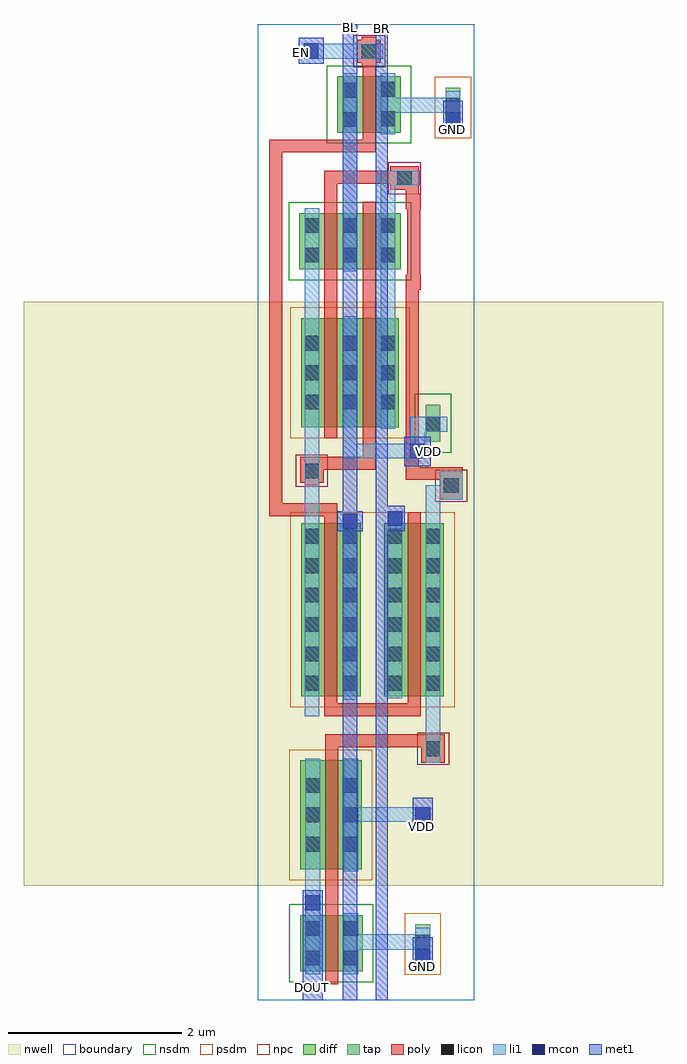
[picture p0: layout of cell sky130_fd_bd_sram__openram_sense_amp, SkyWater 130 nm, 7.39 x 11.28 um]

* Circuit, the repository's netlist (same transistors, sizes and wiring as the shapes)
* Copyright 2020 The SkyWater PDK Authors
*
* Licensed under the Apache License, Version 2.0 (the "License");
* you may not use this file except in compliance with the License.
* You may obtain a copy of the License at
*
*     https://www.apache.org/licenses/LICENSE-2.0
*
* Unless required by applicable law or agreed to in writing, software
* distributed under the License is distributed on an "AS IS" BASIS,
* WITHOUT WARRANTIES OR CONDITIONS OF ANY KIND, either express or implied.
* See the License for the specific language governing permissions and
* limitations under the License.
*
* SPDX-License-Identifier: Apache-2.0


.subckt sky130_fd_bd_sram__openram_sense_amp BL BR DOUT EN GND VDD
X0 GND a_154_1298# DOUT GND sky130_fd_pr__nfet_01v8 w=650000u l=150000u
X1 a_154_1298# a_96_1689# VDD VDD sky130_fd_pr__pfet_01v8 w=1.26e+06u l=150000u
X2 BL EN a_96_1689# VDD sky130_fd_pr__pfet_01v8 w=2e+06u l=150000u
X3 GND EN a_184_1689# GND sky130_fd_pr__nfet_01v8 w=650000u l=150000u
X4 a_184_1689# a_154_1298# a_96_1689# GND sky130_fd_pr__nfet_01v8 w=650000u l=150000u
X5 a_154_1298# EN BR VDD sky130_fd_pr__pfet_01v8 w=2e+06u l=150000u
X6 a_154_1298# a_96_1689# a_184_1689# GND sky130_fd_pr__nfet_01v8 w=650000u l=150000u
X7 VDD a_154_1298# a_96_1689# VDD sky130_fd_pr__pfet_01v8 w=1.26e+06u l=150000u
X8 VDD a_154_1298# DOUT VDD sky130_fd_pr__pfet_01v8 w=1.26e+06u l=150000u
.ends

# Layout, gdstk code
import gdstk
lib = gdstk.Library(unit=1e-6, precision=1e-09)
def R(c, l, rs):  # rectangles x0, y0, x1, y1
    for r in rs: c.add(gdstk.rectangle(r[:2], r[2:], *l))
def A(c, l, x, y, w, h, nx, ny, dx, dy):  # array of equal rectangles
    R(c, l, [(x+i*dx, y+j*dy, x+i*dx+w, y+j*dy+h) for i in range(nx) for j in range(ny)])
nwell = (64, 20)
diff = (65, 20)
tap = (65, 44)
poly = (66, 20)
licon = (66, 44)
li1 = (67, 20)
mcon = (67, 44)
met1 = (68, 20)
nsdm = (93, 44)
psdm = (94, 20)
npc = (95, 20)
boundary = (235, 4)

sky130_fd_bd_sram__openr = lib.new_cell('sky130_fd_bd_sram__openram_sense_amp')
R(sky130_fd_bd_sram__openr, nwell, [(-2.705,1.32,4.685,8.07)])
R(sky130_fd_bd_sram__openr, diff, [(0.49,0.33,1.21,0.98), (0.49,1.51,1.2,2.77), (0.5,3.51,1.19,5.51), (1.46,3.51,2.15,5.51), (0.5,6.62,1.63,7.88), (0.48,8.445,1.65,9.095), (0.92,10.025,1.65,10.675)])
R(sky130_fd_bd_sram__openr, tap, [(1.82,0.415,1.99,0.875), (1.94,6.45,2.11,6.88), (2.17,10.085,2.34,10.545)])
R(sky130_fd_bd_sram__openr, poly, [(0.78,0.18,0.93,2.92), (1.89,2.74,2.16,2.92), (0.78,2.92,2.16,3.07), (0.77,3.28,1.88,3.43), (0.77,3.43,0.92,5.59), (1.73,3.43,1.88,5.64), (0.13,5.59,0.92,5.74), (0.13,5.74,0.28,9.795), (2.15,5.78,2.37,5.79), (2.1,5.79,2.37,6.01), (0.54,5.95,0.71,5.98), (0.49,5.98,0.76,6.13), (1.71,6.01,2.37,6.16), (0.49,6.13,1.36,6.28), (1.71,6.16,1.86,8.21), (1.21,6.28,1.36,9.225), (0.77,6.49,0.92,9.435), (1.71,8.21,1.88,8.38), (1.725,8.38,1.875,9.14), (1.71,9.14,1.88,9.31), (1.71,9.31,1.86,9.365), (1.53,9.365,1.86,9.435), (0.77,9.435,1.86,9.585), (1.53,9.585,1.86,9.635), (0.13,9.795,1.36,9.945), (1.21,9.945,1.36,10.8), (1.2,10.8,1.37,10.83), (1.15,10.83,1.42,11.1), (1.2,11.1,1.37,11.13)])
A(sky130_fd_bd_sram__openr, licon, 0.55, 1.715, 0.17, 0.17, 1, 3, 0, 0.34)
A(sky130_fd_bd_sram__openr, licon, 0.99, 1.715, 0.17, 0.17, 1, 3, 0, 0.34)
A(sky130_fd_bd_sram__openr, licon, 0.54, 3.575, 0.17, 0.17, 1, 6, 0, 0.34)
A(sky130_fd_bd_sram__openr, licon, 0.98, 3.575, 0.17, 0.17, 1, 6, 0, 0.34)
A(sky130_fd_bd_sram__openr, licon, 1.5, 3.575, 0.17, 0.17, 1, 6, 0, 0.34)
A(sky130_fd_bd_sram__openr, licon, 1.94, 3.575, 0.17, 0.17, 1, 6, 0, 0.34)
A(sky130_fd_bd_sram__openr, licon, 0.54, 6.825, 0.17, 0.17, 3, 3, 0.44, 0.34)
A(sky130_fd_bd_sram__openr, licon, 0.54, 8.525, 0.17, 0.17, 3, 2, 0.44, 0.34)
R(sky130_fd_bd_sram__openr, licon, [(0.55,0.4,0.72,0.57), (0.99,0.4,1.16,0.57), (1.82,0.585,1.99,0.755), (0.55,0.74,0.72,0.91), (0.99,0.74,1.16,0.91), (1.94,2.82,2.11,2.99), (2.15,5.86,2.32,6.03), (0.54,6.03,0.71,6.2), (1.94,6.57,2.11,6.74), (1.61,9.415,1.78,9.585), (0.98,10.09,1.15,10.26), (1.42,10.1,1.59,10.27), (2.17,10.255,2.34,10.425), (0.98,10.43,1.15,10.6), (1.42,10.44,1.59,10.61), (1.2,10.88,1.37,11.05)])
R(sky130_fd_bd_sram__openr, li1, [(0.55,0.3,0.72,2.79), (0.98,0.3,1.16,0.58), (1.82,0.415,1.99,0.58), (0.98,0.58,1.99,0.76), (0.98,0.76,1.16,1), (1.82,0.76,1.99,0.835), (0.99,1.49,1.16,2.06), (0.99,2.06,1.99,2.23), (0.99,2.23,1.16,2.79), (1.94,2.74,2.11,5.78), (0.54,3.28,0.71,9.15), (0.98,3.47,1.15,5.62), (1.5,3.49,1.67,5.65), (1.94,5.78,2.37,5.95), (2.1,5.95,2.37,6.11), (0.98,6.26,1.93,6.43), (0.98,6.43,1.15,7.9), (1.76,6.43,1.93,6.57), (1.76,6.57,2.19,6.74), (1.42,6.6,1.59,9.415), (0.98,8.425,1.15,10.71), (1.42,9.415,1.87,9.585), (1.42,10.005,1.59,10.255), (2.17,10.085,2.34,10.255), (1.42,10.255,2.34,10.425), (1.42,10.425,1.59,10.71), (2.17,10.425,2.34,10.505), (0.53,10.88,1.45,11.05), (0.53,11.05,0.7,11.06)])
R(sky130_fd_bd_sram__openr, mcon, [(1.82,0.415,1.99,0.585), (0.55,1.04,0.72,1.21), (1.82,2.06,1.99,2.23), (0.98,5.45,1.15,5.62), (1.5,5.48,1.67,5.65), (1.76,6.26,1.93,6.43), (2.17,10.085,2.34,10.255), (0.53,10.885,0.7,11.055)])
R(sky130_fd_bd_sram__openr, met1, [(0.52,0,0.75,1.27), (0.98,0,1.15,5.42), (1.36,0,1.5,5.42), (1.79,0.355,2.02,0.725), (1.79,1.96,2.02,2.34), (0.92,5.42,1.21,5.65), (1.36,5.42,1.7,5.71), (0.98,5.65,1.15,11.28), (1.36,5.71,1.5,11.28), (1.69,6.17,2,6.51), (2.14,10.025,2.37,10.395), (0.47,10.82,0.76,11.12)])
R(sky130_fd_bd_sram__openr, nsdm, [(0.365,0.205,1.335,1.105), (1.815,6.325,2.235,7.005), (0.355,8.32,1.775,9.22), (0.795,9.9,1.775,10.8)])
R(sky130_fd_bd_sram__openr, psdm, [(1.695,0.29,2.115,1), (0.365,1.385,1.325,2.895), (0.375,3.385,2.275,5.635), (0.375,6.495,1.755,8.005), (2.045,9.96,2.465,10.67)])
R(sky130_fd_bd_sram__openr, npc, [(1.84,2.72,2.21,3.09), (2.05,5.76,2.42,6.13), (0.44,5.93,0.81,6.3), (1.51,9.315,1.88,9.685), (1.1,10.78,1.47,11.15)])
R(sky130_fd_bd_sram__openr, boundary, [(0,0,2.5,11.28)])
sky130_fd_bd_sram__openr.add(gdstk.Label('BL', (1.07,11.24), layer=68, texttype=5))
sky130_fd_bd_sram__openr.add(gdstk.Label('BR', (1.43,11.23), layer=68, texttype=5))
sky130_fd_bd_sram__openr.add(gdstk.Label('DOUT', (0.615,0.14), layer=68, texttype=5))
sky130_fd_bd_sram__openr.add(gdstk.Label('EN', (0.5,10.95), layer=68, texttype=5))
sky130_fd_bd_sram__openr.add(gdstk.Label('GND', (2.25,10.055), layer=68, texttype=5))
sky130_fd_bd_sram__openr.add(gdstk.Label('GND', (1.9,0.385), layer=68, texttype=5))
sky130_fd_bd_sram__openr.add(gdstk.Label('VDD', (1.97,6.34), layer=68, texttype=5))
sky130_fd_bd_sram__openr.add(gdstk.Label('VDD', (1.89,2), layer=68, texttype=5))

lib.write_gds('sky130_fd_bd_sram__openram_sense_amp.gds')
